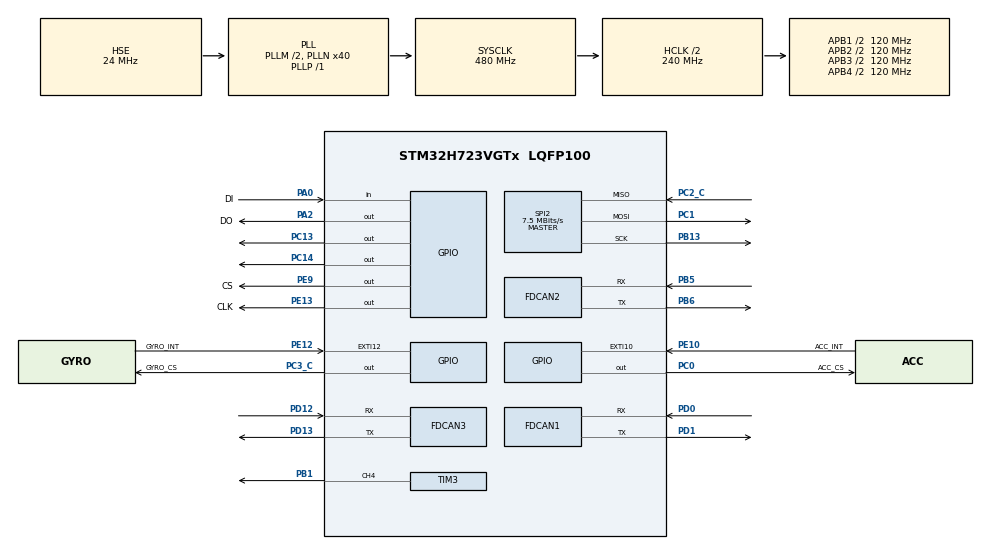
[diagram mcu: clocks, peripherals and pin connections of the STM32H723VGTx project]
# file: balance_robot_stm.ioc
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CORTEX_M7.default_mode_Activation=0
Dma.Request0=SPI2_RX
Dma.Request1=SPI2_TX
Dma.SPI2_RX.0.Direction=DMA_PERIPH_TO_MEMORY
Dma.SPI2_RX.0.EventEnable=DISABLE
Dma.SPI2_RX.0.FIFOMode=DMA_FIFOMODE_DISABLE
Dma.SPI2_RX.0.Instance=DMA1_Stream0
Dma.SPI2_RX.0.MemDataAlignment=DMA_MDATAALIGN_BYTE
Dma.SPI2_RX.0.MemInc=DMA_MINC_ENABLE
Dma.SPI2_RX.0.Mode=DMA_NORMAL
Dma.SPI2_RX.0.PeriphDataAlignment=DMA_PDATAALIGN_BYTE
Dma.SPI2_RX.0.PeriphInc=DMA_PINC_DISABLE
Dma.SPI2_RX.0.Polarity=HAL_DMAMUX_REQ_GEN_RISING
Dma.SPI2_RX.0.Priority=DMA_PRIORITY_VERY_HIGH
Dma.SPI2_RX.0.RequestNumber=1
Dma.SPI2_RX.0.SignalID=NONE
Dma.SPI2_RX.0.SyncEnable=DISABLE
Dma.SPI2_RX.0.SyncPolarity=HAL_DMAMUX_SYNC_NO_EVENT
Dma.SPI2_RX.0.SyncRequestNumber=1
Dma.SPI2_RX.0.SyncSignalID=NONE
Dma.SPI2_TX.1.Direction=DMA_MEMORY_TO_PERIPH
Dma.SPI2_TX.1.EventEnable=DISABLE
Dma.SPI2_TX.1.FIFOMode=DMA_FIFOMODE_DISABLE
Dma.SPI2_TX.1.Instance=DMA1_Stream1
Dma.SPI2_TX.1.MemDataAlignment=DMA_MDATAALIGN_BYTE
Dma.SPI2_TX.1.MemInc=DMA_MINC_ENABLE
Dma.SPI2_TX.1.Mode=DMA_NORMAL
Dma.SPI2_TX.1.PeriphDataAlignment=DMA_PDATAALIGN_BYTE
Dma.SPI2_TX.1.PeriphInc=DMA_PINC_DISABLE
Dma.SPI2_TX.1.Polarity=HAL_DMAMUX_REQ_GEN_RISING
Dma.SPI2_TX.1.Priority=DMA_PRIORITY_HIGH
Dma.SPI2_TX.1.RequestNumber=1
Dma.SPI2_TX.1.SignalID=NONE
Dma.SPI2_TX.1.SyncEnable=DISABLE
Dma.SPI2_TX.1.SyncPolarity=HAL_DMAMUX_SYNC_NO_EVENT
Dma.SPI2_TX.1.SyncRequestNumber=1
Dma.SPI2_TX.1.SyncSignalID=NONE
FDCAN1.CalculateBaudRateNominal=1000000
FDCAN1.CalculateTimeBitNominal=1000
FDCAN1.CalculateTimeQuantumNominal=40.0
FDCAN1.DataPrescaler=4
FDCAN1.DataSyncJumpWidth=1
FDCAN1.DataTimeSeg1=19
FDCAN1.DataTimeSeg2=5
FDCAN1.ExtFiltersNbr=5
FDCAN1.NominalPrescaler=4
FDCAN1.NominalSyncJumpWidth=1
FDCAN1.NominalTimeSeg1=19
FDCAN1.NominalTimeSeg2=5
FDCAN1.RxFifo0ElmtSize=FDCAN_DATA_BYTES_24
FDCAN1.RxFifo0ElmtsNbr=4
FDCAN1.RxFifo1ElmtSize=FDCAN_DATA_BYTES_24
FDCAN1.StdFiltersNbr=5
FDCAN1.TxElmtSize=FDCAN_DATA_BYTES_24
FDCAN1.TxFifoQueueElmtsNbr=8
FDCAN2.CalculateBaudRateNominal=1000000
FDCAN2.CalculateTimeBitNominal=1000
FDCAN2.CalculateTimeQuantumNominal=50.0
FDCAN2.DataPrescaler=5
FDCAN2.DataTimeSeg1=14
FDCAN2.DataTimeSeg2=5
FDCAN2.ExtFiltersNbr=5
FDCAN2.MessageRAMOffset=854
FDCAN2.NominalPrescaler=5
FDCAN2.NominalTimeSeg1=14
FDCAN2.NominalTimeSeg2=5
FDCAN2.RxFifo1ElmtSize=FDCAN_DATA_BYTES_24
FDCAN2.RxFifo1ElmtsNbr=4
FDCAN2.StdFiltersNbr=5
FDCAN2.TxElmtSize=FDCAN_DATA_BYTES_16
FDCAN2.TxFifoQueueElmtsNbr=4
FDCAN3.CalculateBaudRateNominal=1000000
FDCAN3.CalculateTimeBitNominal=1000
FDCAN3.CalculateTimeQuantumNominal=50.0
FDCAN3.DataPrescaler=5
FDCAN3.DataTimeSeg1=14
FDCAN3.DataTimeSeg2=5
FDCAN3.ExtFiltersNbr=5
FDCAN3.MessageRAMOffset=1709
FDCAN3.NominalPrescaler=5
FDCAN3.NominalTimeSeg1=14
FDCAN3.NominalTimeSeg2=5
FDCAN3.RxFifo0ElmtsNbr=2
FDCAN3.StdFiltersNbr=5
FDCAN3.TxFifoQueueElmtsNbr=3
FREERTOS.Tasks01=defaultTask,0,128,StartDefaultTask,Default,NULL,Dynamic,NULL,NULL;INS_TASK,3,512,INS_Task,Default,NULL,Dynamic,NULL,NULL;PS2_TASK,2,128,PS2_Task,Default,NULL,Dynamic,NULL,NULL;CHASSISL_TASK,0,512,CHASSISL_Task,Default,NULL,Dynamic,NULL,NULL;CHASSISR_TASK,0,512,CHASSISR_Task,Default,NULL,Dynamic,NULL,NULL;OBSERVE_TASK,1,512,OBSERVE_Task,Default,NULL,Dynamic,NULL,NULL
Mcu.Family=STM32H7
Mcu.Name=STM32H723VGTx
Mcu.Package=LQFP100
NVIC.DMA1_Stream0_IRQn=true\:6\:0\:true\:false\:true\:true\:false\:true\:true
NVIC.DMA1_Stream1_IRQn=true\:6\:0\:true\:false\:true\:true\:false\:true\:true
NVIC.FDCAN1_IT0_IRQn=true\:6\:0\:true\:false\:true\:true\:true\:true\:true
NVIC.FDCAN2_IT0_IRQn=true\:5\:0\:false\:false\:true\:true\:true\:true\:true
NVIC.FDCAN3_IT0_IRQn=true\:5\:0\:false\:false\:true\:true\:true\:true\:true
NVIC.PriorityGroup=NVIC_PRIORITYGROUP_4
NVIC.SPI2_IRQn=true\:5\:0\:false\:false\:true\:true\:false\:true\:true
NVIC.TIM2_IRQn=true\:15\:0\:false\:false\:true\:false\:false\:true\:true
NVIC.TimeBase=TIM2_IRQn
NVIC.TimeBaseIP=TIM2
PA0.GPIO_Label=DI
PA0.Signal=GPIO_Input
PA13(JTMS/SWDIO).Mode=Serial_Wire
PA13(JTMS/SWDIO).Signal=DEBUG_JTMS-SWDIO
PA14(JTCK/SWCLK).Mode=Serial_Wire
PA14(JTCK/SWCLK).Signal=DEBUG_JTCK-SWCLK
PA2.GPIO_Label=DO
PA2.GPIO_Speed=GPIO_SPEED_FREQ_VERY_HIGH
PA2.PinState=GPIO_PIN_SET
PA2.Signal=GPIO_Output
PB1.Signal=S_TIM3_CH4
PB13.GPIO_Speed=GPIO_SPEED_FREQ_VERY_HIGH
PB13.Mode=Full_Duplex_Master
PB13.Signal=SPI2_SCK
PB5.Mode=FDCAN_Activate
PB5.Signal=FDCAN2_RX
PB6.Mode=FDCAN_Activate
PB6.Signal=FDCAN2_TX
PC0.GPIO_Label=ACC_CS
PC0.GPIO_Speed=GPIO_SPEED_FREQ_VERY_HIGH
PC0.PinState=GPIO_PIN_SET
PC0.Signal=GPIO_Output
PC1.GPIO_Speed=GPIO_SPEED_FREQ_VERY_HIGH
PC1.Mode=Full_Duplex_Master
PC1.Signal=SPI2_MOSI
PC13.Signal=GPIO_Output
PC14-OSC32_IN.Signal=GPIO_Output
PC2_C.GPIO_Speed=GPIO_SPEED_FREQ_VERY_HIGH
PC2_C.Mode=Full_Duplex_Master
PC2_C.Signal=SPI2_MISO
PC3_C.GPIO_Label=GYRO_CS
PC3_C.GPIO_Speed=GPIO_SPEED_FREQ_VERY_HIGH
PC3_C.PinState=GPIO_PIN_SET
PC3_C.Signal=GPIO_Output
PD0.GPIO_Speed=GPIO_SPEED_FREQ_LOW
PD0.Mode=FDCAN_Activate
PD0.Signal=FDCAN1_RX
PD1.GPIO_Speed=GPIO_SPEED_FREQ_LOW
PD1.Mode=FDCAN_Activate
PD1.Signal=FDCAN1_TX
PD12.Mode=FDCAN_Activate
PD12.Signal=FDCAN3_RX
PD13.Mode=FDCAN_Activate
PD13.Signal=FDCAN3_TX
PE10.GPIO_Label=ACC_INT
PE10.Signal=GPXTI10
PE12.GPIO_Label=GYRO_INT
PE12.Signal=GPXTI12
PE13.GPIO_Label=CLK
PE13.GPIO_Speed=GPIO_SPEED_FREQ_VERY_HIGH
PE13.PinState=GPIO_PIN_SET
PE13.Signal=GPIO_Output
PE9.GPIO_Label=CS
PE9.GPIO_Speed=GPIO_SPEED_FREQ_VERY_HIGH
PE9.PinState=GPIO_PIN_SET
PE9.Signal=GPIO_Output
PH0-OSC_IN.Mode=HSE-External-Oscillator
PH0-OSC_IN.Signal=RCC_OSC_IN
PH1-OSC_OUT.Mode=HSE-External-Oscillator
PH1-OSC_OUT.Signal=RCC_OSC_OUT
ProjectManager.HeapSize=0x200
ProjectManager.StackSize=0x400
ProjectManager.TargetToolchain=MDK-ARM V5.32
RCC.ADCFreq_Value=100000000
RCC.APB1Freq_Value=120000000
RCC.APB2Freq_Value=120000000
RCC.APB3Freq_Value=120000000
RCC.APB4Freq_Value=120000000
RCC.CortexFreq_Value=480000000
RCC.D1PPRE=RCC_APB3_DIV2
RCC.D2PPRE1=RCC_APB1_DIV2
RCC.D2PPRE2=RCC_APB2_DIV2
RCC.D3PPRE=RCC_APB4_DIV2
RCC.DIVM1=2
RCC.DIVM2=24
RCC.DIVN1=40
RCC.DIVN2=200
RCC.DIVP1=1
RCC.FDCANCLockSelection=RCC_FDCANCLKSOURCE_PLL2
RCC.HCLKFreq_Value=240000000
RCC.HPRE=RCC_HCLK_DIV2
RCC.HSE_VALUE=24000000
RCC.PLLFRACN=0
RCC.PLLSourceVirtual=RCC_PLLSOURCE_HSE
RCC.SYSCLKFreq_VALUE=480000000
RCC.SYSCLKSource=RCC_SYSCLKSOURCE_PLLCLK
RCC.USBFreq_Value=240000000
SH.S_TIM3_CH4.0=TIM3_CH4,PWM Generation4 CH4
SPI2.BaudRatePrescaler=SPI_BAUDRATEPRESCALER_32
SPI2.CLKPhase=SPI_PHASE_2EDGE
SPI2.CLKPolarity=SPI_POLARITY_HIGH
SPI2.CalculateBaudRate=7.5 MBits/s
SPI2.DataSize=SPI_DATASIZE_8BIT
SPI2.Direction=SPI_DIRECTION_2LINES
SPI2.Mode=SPI_MODE_MASTER
SPI2.VirtualType=VM_MASTER
TIM3.AutoReloadPreload=TIM_AUTORELOAD_PRELOAD_ENABLE
TIM3.Channel-PWM\ Generation4\ CH4=TIM_CHANNEL_4
TIM3.Period=10000-1
TIM3.Prescaler=24-1
VP_FREERTOS_VS_CMSIS_V1.Mode=CMSIS_V1
VP_MEMORYMAP_VS_MEMORYMAP.Mode=CurAppReg
VP_SYS_VS_tim2.Mode=TIM2
board=custom

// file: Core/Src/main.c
/* USER CODE BEGIN Header */
/**
  ******************************************************************************
  * @file           : main.c
  * @brief          : Main program body
  ******************************************************************************
  * @attention
  *
  * Copyright (c) 2025 STMicroelectronics.
  * All rights reserved.
  *
  * This software is licensed under terms that can be found in the LICENSE file
  * in the root directory of this software component.
  * If no LICENSE file comes with this software, it is provided AS-IS.
  *
  ******************************************************************************
  */
/* USER CODE END Header */
#include "main.h"
#include "cmsis_os.h"
#include "dma.h"
#include "fdcan.h"
#include "memorymap.h"
#include "spi.h"
#include "tim.h"
#include "gpio.h"

/* USER CODE BEGIN Includes */
#include "bsp_can.h"
#include "bsp_dwt.h"
#include "BMI088driver.h"
#include "BMI088Middleware.h"
#include "Motor.h"
/* USER CODE END Includes */

void SystemClock_Config(void);
void PeriphCommonClock_Config(void);
void MX_FREERTOS_Init(void);

int main(void)
{

  /* MCU Configuration--------------------------------------------------------*/

  /* Reset of all peripherals, Initializes the Flash interface and the Systick. */
  HAL_Init();

  /* Configure the system clock */
  SystemClock_Config();

  /* Configure the peripherals common clocks */
  PeriphCommonClock_Config();

  /* Initialize all configured peripherals */

  MX_GPIO_Init();
  MX_DMA_Init();
  MX_FDCAN1_Init();
  MX_SPI2_Init();
  MX_FDCAN2_Init();
  MX_FDCAN3_Init();
  MX_TIM3_Init();
  /* USER CODE BEGIN 2 */
	DWT_Init(480);
	HAL_TIM_PWM_Start(&htim3, TIM_CHANNEL_4);
	while (BMI088_init(&hspi2, 0) != BMI088_NO_ERROR) // 0为不校准，1为进入校准模式
	{
	  ;
	}
	BSP_FDCAN1_Init(); //start fdcan and fifo
	BSP_FDCAN2_Init();
	Power_OUT1_ON;
	Power_OUT2_ON;
  /* USER CODE END 2 */

  /* Call init function for freertos objects (in cmsis_os2.c) */
  MX_FREERTOS_Init();

  /* Start scheduler */
  osKernelStart();

  /* We should never get here as control is now taken by the scheduler */

  /* Infinite loop */
  while (1)
  {

  }
}

void SystemClock_Config(void)
{
  RCC_OscInitTypeDef RCC_OscInitStruct = {0};
  RCC_ClkInitTypeDef RCC_ClkInitStruct = {0};

  /** Supply configuration update enable
  */
  HAL_PWREx_ConfigSupply(PWR_LDO_SUPPLY);

  /** Configure the main internal regulator output voltage
  */
  __HAL_PWR_VOLTAGESCALING_CONFIG(PWR_REGULATOR_VOLTAGE_SCALE0);

  while(!__HAL_PWR_GET_FLAG(PWR_FLAG_VOSRDY)) {}

  /** Initializes the RCC Oscillators according to the specified parameters
  * in the RCC_OscInitTypeDef structure.
  */
  RCC_OscInitStruct.OscillatorType = RCC_OSCILLATORTYPE_HSE;
  RCC_OscInitStruct.HSEState = RCC_HSE_ON;
  RCC_OscInitStruct.PLL.PLLState = RCC_PLL_ON;
  RCC_OscInitStruct.PLL.PLLSource = RCC_PLLSOURCE_HSE;
  RCC_OscInitStruct.PLL.PLLM = 2;
  RCC_OscInitStruct.PLL.PLLN = 40;
  RCC_OscInitStruct.PLL.PLLP = 1;
  RCC_OscInitStruct.PLL.PLLQ = 2;
  RCC_OscInitStruct.PLL.PLLR = 2;
  RCC_OscInitStruct.PLL.PLLRGE = RCC_PLL1VCIRANGE_3;
  RCC_OscInitStruct.PLL.PLLVCOSEL = RCC_PLL1VCOWIDE;
  RCC_OscInitStruct.PLL.PLLFRACN = 0;
  if (HAL_RCC_OscConfig(&RCC_OscInitStruct) != HAL_OK)
  {
    Error_Handler();
  }

  /** Initializes the CPU, AHB and APB buses clocks
  */
  RCC_ClkInitStruct.ClockType = RCC_CLOCKTYPE_HCLK|RCC_CLOCKTYPE_SYSCLK
                              |RCC_CLOCKTYPE_PCLK1|RCC_CLOCKTYPE_PCLK2
                              |RCC_CLOCKTYPE_D3PCLK1|RCC_CLOCKTYPE_D1PCLK1;
  RCC_ClkInitStruct.SYSCLKSource = RCC_SYSCLKSOURCE_PLLCLK;
  RCC_ClkInitStruct.SYSCLKDivider = RCC_SYSCLK_DIV1;
  RCC_ClkInitStruct.AHBCLKDivider = RCC_HCLK_DIV2;
  RCC_ClkInitStruct.APB3CLKDivider = RCC_APB3_DIV2;
  RCC_ClkInitStruct.APB1CLKDivider = RCC_APB1_DIV2;
  RCC_ClkInitStruct.APB2CLKDivider = RCC_APB2_DIV2;
  RCC_ClkInitStruct.APB4CLKDivider = RCC_APB4_DIV2;

  if (HAL_RCC_ClockConfig(&RCC_ClkInitStruct, FLASH_LATENCY_3) != HAL_OK)
  {
    Error_Handler();
  }
}

void PeriphCommonClock_Config(void)
{
  RCC_PeriphCLKInitTypeDef PeriphClkInitStruct = {0};

  /** Initializes the peripherals clock
  */
  PeriphClkInitStruct.PeriphClockSelection = RCC_PERIPHCLK_FDCAN;
  PeriphClkInitStruct.PLL2.PLL2M = 24;
  PeriphClkInitStruct.PLL2.PLL2N = 200;
  PeriphClkInitStruct.PLL2.PLL2P = 2;
  PeriphClkInitStruct.PLL2.PLL2Q = 2;
  PeriphClkInitStruct.PLL2.PLL2R = 2;
  PeriphClkInitStruct.PLL2.PLL2RGE = RCC_PLL2VCIRANGE_0;
  PeriphClkInitStruct.PLL2.PLL2VCOSEL = RCC_PLL2VCOMEDIUM;
  PeriphClkInitStruct.PLL2.PLL2FRACN = 0;
  PeriphClkInitStruct.FdcanClockSelection = RCC_FDCANCLKSOURCE_PLL2;
  if (HAL_RCCEx_PeriphCLKConfig(&PeriphClkInitStruct) != HAL_OK)
  {
    Error_Handler();
  }
}

void HAL_TIM_PeriodElapsedCallback(TIM_HandleTypeDef *htim)
{
  if (htim->Instance == TIM2)
  {
    HAL_IncTick();
  }
}

void Error_Handler(void)
{
  __disable_irq();
  while (1)
  {
  }
}

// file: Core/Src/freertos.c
/* USER CODE BEGIN Header */
/**
  ******************************************************************************
  * File Name          : freertos.c
  * Description        : Code for freertos applications
  ******************************************************************************
  * @attention
  *
  * Copyright (c) 2025 STMicroelectronics.
  * All rights reserved.
  *
  * This software is licensed under terms that can be found in the LICENSE file
  * in the root directory of this software component.
  * If no LICENSE file comes with this software, it is provided AS-IS.
  *
  ******************************************************************************
  */
/* USER CODE END Header */

#include "FreeRTOS.h"
#include "task.h"
#include "main.h"
#include "cmsis_os.h"

/* USER CODE BEGIN Includes */
#include "ins_task.h"
#include "ps2_task.h"
#include "chassisL_task.h"
#include "chassisR_task.h"
#include "observe_task.h"
/* USER CODE END Includes */

osThreadId defaultTaskHandle;
osThreadId INS_TASKHandle;
osThreadId PS2_TASKHandle;
osThreadId CHASSISL_TASKHandle;
osThreadId CHASSISR_TASKHandle;
osThreadId OBSERVE_TASKHandle;

void StartDefaultTask(void const * argument);
void INS_Task(void const * argument);
void PS2_Task(void const * argument);
void CHASSISL_Task(void const * argument);
void CHASSISR_Task(void const * argument);
void OBSERVE_Task(void const * argument);

void MX_FREERTOS_Init(void); /* (MISRA C 2004 rule 8.1) */

/* GetIdleTaskMemory prototype (linked to static allocation support) */
void vApplicationGetIdleTaskMemory( StaticTask_t **ppxIdleTaskTCBBuffer, StackType_t **ppxIdleTaskStackBuffer, uint32_t *pulIdleTaskStackSize );

/* USER CODE BEGIN GET_IDLE_TASK_MEMORY */
static StaticTask_t xIdleTaskTCBBuffer;
static StackType_t xIdleStack[configMINIMAL_STACK_SIZE];

void vApplicationGetIdleTaskMemory( StaticTask_t **ppxIdleTaskTCBBuffer, StackType_t **ppxIdleTaskStackBuffer, uint32_t *pulIdleTaskStackSize )
{
  *ppxIdleTaskTCBBuffer = &xIdleTaskTCBBuffer;
  *ppxIdleTaskStackBuffer = &xIdleStack[0];
  *pulIdleTaskStackSize = configMINIMAL_STACK_SIZE;
  /* place for user code */
}
/* USER CODE END GET_IDLE_TASK_MEMORY */

void MX_FREERTOS_Init(void) {

  /* Create the thread(s) */
  /* definition and creation of defaultTask */
  osThreadDef(defaultTask, StartDefaultTask, osPriorityNormal, 0, 128);
  defaultTaskHandle = osThreadCreate(osThread(defaultTask), NULL);

  /* definition and creation of INS_TASK */
  osThreadDef(INS_TASK, INS_Task, osPriorityRealtime, 0, 512);
  INS_TASKHandle = osThreadCreate(osThread(INS_TASK), NULL);

  /* definition and creation of PS2_TASK */
  osThreadDef(PS2_TASK, PS2_Task, osPriorityHigh, 0, 128);
  PS2_TASKHandle = osThreadCreate(osThread(PS2_TASK), NULL);

  /* definition and creation of CHASSISL_TASK */
  osThreadDef(CHASSISL_TASK, CHASSISL_Task, osPriorityNormal, 0, 512);
  CHASSISL_TASKHandle = osThreadCreate(osThread(CHASSISL_TASK), NULL);

  /* definition and creation of CHASSISR_TASK */
  osThreadDef(CHASSISR_TASK, CHASSISR_Task, osPriorityNormal, 0, 512);
  CHASSISR_TASKHandle = osThreadCreate(osThread(CHASSISR_TASK), NULL);

  /* definition and creation of OBSERVE_TASK */
  osThreadDef(OBSERVE_TASK, OBSERVE_Task, osPriorityAboveNormal, 0, 512);
  OBSERVE_TASKHandle = osThreadCreate(osThread(OBSERVE_TASK), NULL);

}

void StartDefaultTask(void const * argument)
{
  for(;;)
  {
    osDelay(1);
  }
}

void INS_Task(void const * argument)
{
  /* USER CODE BEGIN INS_Task */
  /* Infinite loop */
  for(;;)
  {
		INS_task();
    osDelay(1);
  }
  /* USER CODE END INS_Task */
}

void PS2_Task(void const * argument)
{
  /* USER CODE BEGIN PS2_Task */
  /* Infinite loop */
  for(;;)
  {
		pstwo_task();
    osDelay(1);
  }
  /* USER CODE END PS2_Task */
}

void CHASSISL_Task(void const * argument)
{
  /* USER CODE BEGIN CHASSISL_Task */
  /* Infinite loop */
  for(;;)
  {
		ChassisL_task();
    osDelay(1);
  }
  /* USER CODE END CHASSISL_Task */
}

void CHASSISR_Task(void const * argument)
{
  /* USER CODE BEGIN CHASSISR_Task */
  /* Infinite loop */
  for(;;)
  {
		ChassisR_task();
    osDelay(1);
  }
  /* USER CODE END CHASSISR_Task */
}

void OBSERVE_Task(void const * argument)
{
  /* USER CODE BEGIN OBSERVE_Task */
  /* Infinite loop */
  for(;;)
  {
		Observe_task();
    osDelay(1);
  }
  /* USER CODE END OBSERVE_Task */
}
